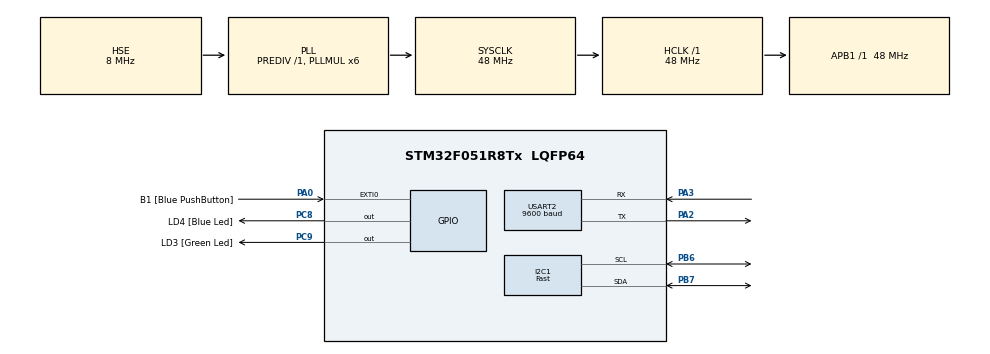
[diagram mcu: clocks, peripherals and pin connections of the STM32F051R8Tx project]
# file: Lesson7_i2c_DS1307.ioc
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I2C1.I2C_Speed_Mode=I2C_Fast
I2C1.Timing=0x2010091A
Mcu.Family=STM32F0
Mcu.Name=STM32F051R8Tx
Mcu.Package=LQFP64
PA0.GPIO_Label=B1 [Blue PushButton]
PA0.GPIO_ModeDefaultEXTI=GPIO_MODE_EVT_RISING
PA0.Signal=GPXTI0
PA13.GPIO_Label=SWDIO
PA13.Mode=Serial_Wire
PA13.Signal=SYS_SWDIO
PA14.GPIO_Label=SWCLK
PA14.Mode=Serial_Wire
PA14.Signal=SYS_SWCLK
PA2.Mode=Asynchronous
PA2.Signal=USART2_TX
PA3.Mode=Asynchronous
PA3.Signal=USART2_RX
PB6.Mode=I2C
PB6.Signal=I2C1_SCL
PB7.Mode=I2C
PB7.Signal=I2C1_SDA
PC8.GPIO_Label=LD4 [Blue Led]
PC8.Signal=GPIO_Output
PC9.GPIO_Label=LD3 [Green Led]
PC9.Signal=GPIO_Output
PF0-OSC_IN.Mode=HSE-External-Oscillator
PF0-OSC_IN.Signal=RCC_OSC_IN
PF1-OSC_OUT.Mode=HSE-External-Oscillator
PF1-OSC_OUT.Signal=RCC_OSC_OUT
ProjectManager.HeapSize=0x200
ProjectManager.StackSize=0x400
ProjectManager.TargetToolchain=STM32CubeIDE
RCC.AHBFreq_Value=48000000
RCC.APB1Freq_Value=48000000
RCC.APB1TimFreq_Value=48000000
RCC.HCLKFreq_Value=48000000
RCC.I2c1ClockSelection=RCC_I2C1CLKSOURCE_SYSCLK
RCC.PLLMUL=RCC_PLL_MUL6
RCC.PLLSourceVirtual=RCC_PLLSOURCE_HSE
RCC.SYSCLKFreq_VALUE=48000000
RCC.SYSCLKSource=RCC_SYSCLKSOURCE_PLLCLK
USART2.BaudRate=9600
USART2.VirtualMode-Asynchronous=VM_ASYNC
board=STM32F0DISCOVERY

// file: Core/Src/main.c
/* USER CODE BEGIN Header */
/**
  ******************************************************************************
  * @file           : main.c
  * @brief          : Main program body
  ******************************************************************************
  * @attention
  *
  * Copyright (c) 2023 STMicroelectronics.
  * All rights reserved.
  *
  * This software is licensed under terms that can be found in the LICENSE file
  * in the root directory of this software component.
  * If no LICENSE file comes with this software, it is provided AS-IS.
  *
  ******************************************************************************
  */
/* USER CODE END Header */
#include "main.h"

/* USER CODE BEGIN Includes */
#include <string.h>//бібліотека для роботи з рядками
#include <stdio.h>//бібліотека вводу/виводу
/* USER CODE END Includes */

I2C_HandleTypeDef hi2c1;

UART_HandleTypeDef huart2;

/* USER CODE BEGIN PV */
char buf[21];// буфер для відправки даних
/* USER CODE END PV */

void SystemClock_Config(void);
static void MX_GPIO_Init(void);
static void MX_I2C1_Init(void);
static void MX_USART2_UART_Init(void);

/* USER CODE BEGIN 0 */
#define DS1307_SLAVE_ADRESS 0xD0//адреса годинника реального часу

//службова функція для переводу чисел з 10 в 2-у
uint8_t dec_to_bin(int val)
{
 return (uint8_t)( (val/10*16) + (val % 10) );
}

//службова функція для переводу чисел з 2 в 10-у
int bin_to_dec(uint8_t val)
{
 return (int)( (val/16*10) + (val % 16) );
}

//стуктура часових параметрів
typedef struct{
	uint8_t seconds;
  	uint8_t minutes;
  	uint8_t hours;
  	uint8_t daysofweek;
  	uint8_t daysofmonth;
  	uint8_t months;
  	uint8_t years;
} TIME;

TIME time;// створюємо змінну типу TIME

//Функція для встановлення часу
void set_time(uint8_t sec, uint8_t min, uint8_t hr, uint8_t dow,
	       uint8_t dom, uint8_t mon, uint8_t yr)
{
  uint8_t time_block[7];//масив для даних з часових регістрів RTC

  //звертаємось до кожного елементу масиву time_block
  // значення з переводимо з 10 в 1, оскільки
  time_block[0] = dec_to_bin(sec);
  time_block[1] = dec_to_bin(min);
  time_block[2] = dec_to_bin(hr);
  time_block[3] = dec_to_bin(dow);
  time_block[4] = dec_to_bin(dom);
  time_block[5] = dec_to_bin(mon);
  time_block[6] = dec_to_bin(yr);

  HAL_I2C_Mem_Write(&hi2c1, DS1307_SLAVE_ADRESS, 0x00, 1, time_block, 7, 1000);//функція для запису даних через I2C
}

//функція для получення часу
void get_time(TIME * t)
{
  uint8_t time_block[7];//масив для даних з часових регістрів RTC

  HAL_I2C_Mem_Read(&hi2c1, DS1307_SLAVE_ADRESS, 0x00, 1, time_block, 7, 1000);// функція для читання даних через I2C

  // звертайємось до кожного елемента структури TIME через вказівник ->
  t->seconds = bin_to_dec(time_block[0]);
  t->minutes = bin_to_dec(time_block[1]);
  t->hours = bin_to_dec(time_block[2]);
  t->daysofweek = bin_to_dec(time_block[3]);
  t->daysofmonth = bin_to_dec(time_block[4]);
  t->months = bin_to_dec(time_block[5]);
  t->years = bin_to_dec(time_block[6]);
}

/* USER CODE END 0 */

int main(void)
{

  /* MCU Configuration--------------------------------------------------------*/

  /* Reset of all peripherals, Initializes the Flash interface and the Systick. */
  HAL_Init();

  /* Configure the system clock */
  SystemClock_Config();

  /* Initialize all configured peripherals */
  MX_GPIO_Init();
  MX_I2C1_Init();
  MX_USART2_UART_Init();
  /* USER CODE BEGIN 2 */

  //задаємо час( секунди, хвилини, години, день тижня, день місяця, місяць, рік)
  set_time(0, 03, 20, 2, 3, 1, 23);
  /* USER CODE END 2 */
  /* USER CODE END 2 */

  /* Infinite loop */
  while (1)
  {
	  get_time(&time);
	  sprintf(buf, "%02d:%02d:%02d %02d-%02d-%02d-%02d", time.seconds, time.minutes,
														 time.hours, time.daysofweek,
														 time.daysofmonth,time.months,
														 time.years);
	  strcat(buf, "\n");
	  HAL_UART_Transmit(&huart2, (uint8_t *)buf, sizeof(buf), 1000);
	  HAL_Delay(500);
  }
}

void SystemClock_Config(void)
{
  RCC_OscInitTypeDef RCC_OscInitStruct = {0};
  RCC_ClkInitTypeDef RCC_ClkInitStruct = {0};
  RCC_PeriphCLKInitTypeDef PeriphClkInit = {0};

  /** Initializes the RCC Oscillators according to the specified parameters
  * in the RCC_OscInitTypeDef structure.
  */
  RCC_OscInitStruct.OscillatorType = RCC_OSCILLATORTYPE_HSE;
  RCC_OscInitStruct.HSEState = RCC_HSE_ON;
  RCC_OscInitStruct.PLL.PLLState = RCC_PLL_ON;
  RCC_OscInitStruct.PLL.PLLSource = RCC_PLLSOURCE_HSE;
  RCC_OscInitStruct.PLL.PLLMUL = RCC_PLL_MUL6;
  RCC_OscInitStruct.PLL.PREDIV = RCC_PREDIV_DIV1;
  if (HAL_RCC_OscConfig(&RCC_OscInitStruct) != HAL_OK)
  {
    Error_Handler();
  }

  /** Initializes the CPU, AHB and APB buses clocks
  */
  RCC_ClkInitStruct.ClockType = RCC_CLOCKTYPE_HCLK|RCC_CLOCKTYPE_SYSCLK
                              |RCC_CLOCKTYPE_PCLK1;
  RCC_ClkInitStruct.SYSCLKSource = RCC_SYSCLKSOURCE_PLLCLK;
  RCC_ClkInitStruct.AHBCLKDivider = RCC_SYSCLK_DIV1;
  RCC_ClkInitStruct.APB1CLKDivider = RCC_HCLK_DIV1;

  if (HAL_RCC_ClockConfig(&RCC_ClkInitStruct, FLASH_LATENCY_1) != HAL_OK)
  {
    Error_Handler();
  }
  PeriphClkInit.PeriphClockSelection = RCC_PERIPHCLK_I2C1;
  PeriphClkInit.I2c1ClockSelection = RCC_I2C1CLKSOURCE_SYSCLK;
  if (HAL_RCCEx_PeriphCLKConfig(&PeriphClkInit) != HAL_OK)
  {
    Error_Handler();
  }
}

static void MX_I2C1_Init(void)
{

  hi2c1.Instance = I2C1;
  hi2c1.Init.Timing = 0x2010091A;
  hi2c1.Init.OwnAddress1 = 0;
  hi2c1.Init.AddressingMode = I2C_ADDRESSINGMODE_7BIT;
  hi2c1.Init.DualAddressMode = I2C_DUALADDRESS_DISABLE;
  hi2c1.Init.OwnAddress2 = 0;
  hi2c1.Init.OwnAddress2Masks = I2C_OA2_NOMASK;
  hi2c1.Init.GeneralCallMode = I2C_GENERALCALL_DISABLE;
  hi2c1.Init.NoStretchMode = I2C_NOSTRETCH_DISABLE;
  if (HAL_I2C_Init(&hi2c1) != HAL_OK)
  {
    Error_Handler();
  }

  /** Configure Analogue filter
  */
  if (HAL_I2CEx_ConfigAnalogFilter(&hi2c1, I2C_ANALOGFILTER_ENABLE) != HAL_OK)
  {
    Error_Handler();
  }

  /** Configure Digital filter
  */
  if (HAL_I2CEx_ConfigDigitalFilter(&hi2c1, 0) != HAL_OK)
  {
    Error_Handler();
  }

}

static void MX_USART2_UART_Init(void)
{

  huart2.Instance = USART2;
  huart2.Init.BaudRate = 9600;
  huart2.Init.WordLength = UART_WORDLENGTH_8B;
  huart2.Init.StopBits = UART_STOPBITS_1;
  huart2.Init.Parity = UART_PARITY_NONE;
  huart2.Init.Mode = UART_MODE_TX_RX;
  huart2.Init.HwFlowCtl = UART_HWCONTROL_NONE;
  huart2.Init.OverSampling = UART_OVERSAMPLING_16;
  huart2.Init.OneBitSampling = UART_ONE_BIT_SAMPLE_DISABLE;
  huart2.AdvancedInit.AdvFeatureInit = UART_ADVFEATURE_NO_INIT;
  if (HAL_UART_Init(&huart2) != HAL_OK)
  {
    Error_Handler();
  }

}

static void MX_GPIO_Init(void)
{
  GPIO_InitTypeDef GPIO_InitStruct = {0};

  /* GPIO Ports Clock Enable */
  __HAL_RCC_GPIOF_CLK_ENABLE();
  __HAL_RCC_GPIOA_CLK_ENABLE();
  __HAL_RCC_GPIOC_CLK_ENABLE();
  __HAL_RCC_GPIOB_CLK_ENABLE();

  /*Configure GPIO pin Output Level */
  HAL_GPIO_WritePin(GPIOC, LD4_Pin|LD3_Pin, GPIO_PIN_RESET);

  /*Configure GPIO pin : B1_Pin */
  GPIO_InitStruct.Pin = B1_Pin;
  GPIO_InitStruct.Mode = GPIO_MODE_EVT_RISING;
  GPIO_InitStruct.Pull = GPIO_NOPULL;
  HAL_GPIO_Init(B1_GPIO_Port, &GPIO_InitStruct);

  /*Configure GPIO pins : LD4_Pin LD3_Pin */
  GPIO_InitStruct.Pin = LD4_Pin|LD3_Pin;
  GPIO_InitStruct.Mode = GPIO_MODE_OUTPUT_PP;
  GPIO_InitStruct.Pull = GPIO_NOPULL;
  GPIO_InitStruct.Speed = GPIO_SPEED_FREQ_LOW;
  HAL_GPIO_Init(GPIOC, &GPIO_InitStruct);

}

void Error_Handler(void)
{
  __disable_irq();
  while (1)
  {
  }
}
